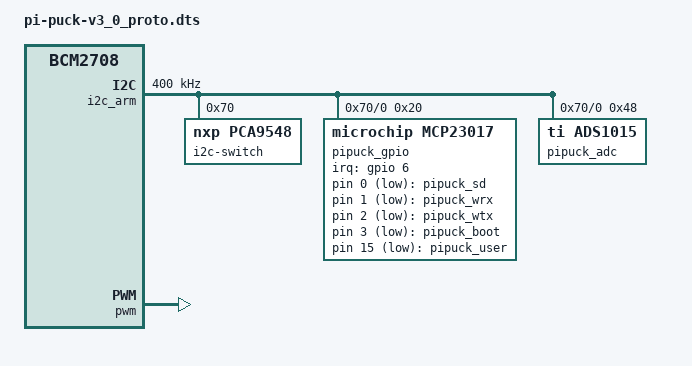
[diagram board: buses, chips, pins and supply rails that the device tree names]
/dts-v1/;
/plugin/;

/ {
	compatible = "brcm,bcm2708";

	/* I2C devices */
	fragment@0 {
		target = <&i2c_arm>;
		__overlay__ {
			#address-cells = <1>;
			#size-cells = <0>;
			status = "okay";
			clock-frequency = <400000>;
			i2c-switch@70 {
				compatible = "nxp,pca9548";
				#address-cells = <1>;
				#size-cells = <0>;
				reg = <0x70>;
				i2c@0 {
					#address-cells = <1>;
					#size-cells = <0>;
					reg = <0>;
					pipuck_gpio: gpio@20 {
						compatible = "microchip,mcp23017";
						gpio-controller;
						#gpio-cells = <2>;
						reg = <0x20>;
						interrupt-parent = <&gpio>;
						interrupts = <6 0x8>, <13 0x8>;
						interrupt-controller;
						#interrupt-cells = <2>;
					};
					pipuck_adc: ads1015@48 {
						compatible = "ti,ads1015";
						reg = <0x48>;
						#address-cells = <1>;
						#size-cells = <0>;
						pipuck_ain0: channel@4 {
							reg = <4>;
							ti,gain = <0>;
							ti,datarate = <0>;
						};
						pipuck_ain1: channel@5 {
							reg = <5>;
							ti,gain = <0>;
							ti,datarate = <0>;
						};
					};
					/* OLED 0x3c */
					/* USB hub 0x50 */
				};
				i2c@1 {
					#address-cells = <1>;
					#size-cells = <0>;
					reg = <1>;
					/* e-puck */
				};
				i2c@2 {
					#address-cells = <1>;
					#size-cells = <0>;
					reg = <2>;
					/* Sensor Board 1 */
				};
				i2c@3 {
					#address-cells = <1>;
					#size-cells = <0>;
					reg = <3>;
					/* Sensor Board 2 */
				};
				i2c@4 {
					#address-cells = <1>;
					#size-cells = <0>;
					reg = <4>;
					/* Sensor Board 3 */
				};
				i2c@5 {
					#address-cells = <1>;
					#size-cells = <0>;
					reg = <5>;
					/* Sensor Board 4 */
				};
				i2c@6 {
					#address-cells = <1>;
					#size-cells = <0>;
					reg = <6>;
					/* Sensor Board 5 */
				};
				i2c@7 {
					#address-cells = <1>;
					#size-cells = <0>;
					reg = <7>;
					/* Sensor Board 6 */
				};
			};
		};
	};

	/* LEDs */
	fragment@1 {
		target = <&leds>;
		__overlay__ {
			compatible = "gpio-leds";
			pipuck_sd {
				label = "pipuck_sd";
				gpios = <&pipuck_gpio 0 1>; // LED5
				linux,default-trigger = "mmc0";
			};
			pipuck_wrx {
				label = "pipuck_wrx";
				gpios = <&pipuck_gpio 1 1>; // LED6
				linux,default-trigger = "phy0rx";
			};
			pipuck_wtx {
				label = "pipuck_wtx";
				gpios = <&pipuck_gpio 2 1>; // LED7
				linux,default-trigger = "phy0tx";
			};
			pipuck_boot {
				label = "pipuck_boot";
				gpios = <&pipuck_gpio 3 1>; // LED8
				linux,default-trigger = "heartbeat";
			};
			pipuck_user {
				label = "pipuck_user";
				gpios = <&pipuck_gpio 15 1>; // LED9
				linux,default-trigger = "none";
			};
		};
	};

	/* DIP switch keys */
	fragment@2 {
		target-path = "/soc";
		__dormant__ {
			control-switches {
				compatible = "gpio-keys";
				pipuck_switch1 {
					label = "pipuck_switch1";
					gpios = <&pipuck_gpio 4 1>; // SW1
					linux,code = <256>;
				};
				pipuck_switch2 {
					label = "pipuck_switch2";
					gpios = <&pipuck_gpio 5 1>; // SW2
					linux,code = <257>;
				};
				pipuck_switch3 {
					label = "pipuck_switch3";
					gpios = <&pipuck_gpio 6 1>; // SW3
					linux,code = <258>;
				};
				pipuck_switch4 {
					label = "pipuck_switch4";
					gpios = <&pipuck_gpio 7 1>; // SW4
					linux,code = <259>;
				};
			};
		};
	};

	/* Shutdown button key */
	fragment@3 {
		target-path = "/soc";
		__dormant__ {
			control-switches {
				compatible = "gpio-keys";
				pipuck_power_key: pipuck_shutdown {
					label = "shutdown";
					linux,code = <116>; // KEY_POWER
					gpios = <&gpio 5 1>;
					debounce-interval = <1000>;
				};

			};
		};
	};

	/* Audio output */
	fragment@4 {
		target = <&gpio>;
		__overlay__ {
			pwm_pins: pwm_pins {
				brcm,pins = <12>;
				brcm,function = <4>; // Alt0
			};
			audio_enable: audio_enable {
				brcm,pins = <22>;
				brcm,function = <1>; // GPIO out
			};
		};
	};
	fragment@5 {
		target = <&pwm>;
		__overlay__ {
			pinctrl-names = "default";
			pinctrl-0 = <&pwm_pins &audio_enable>;
			status = "okay";
		};
	};

	/* Disable Bluetooth to free up UART */
	fragment@6 {
		target = <&uart1>;
		__dormant__ {
			status = "disabled";
		};
	};
	fragment@7 {
		target = <&uart0>;
		__dormant__ {
			pinctrl-names = "default";
			pinctrl-0 = <&uart0_pins>;
			status = "okay";
		};
	};
	fragment@8 {
		target = <&uart0_pins>;
		__dormant__ {
			brcm,pins;
			brcm,function;
			brcm,pull;
		};
	};
	fragment@9 {
		target-path = "/aliases";
		__dormant__ {
			serial0 = "/soc/serial@7e201000";
			serial1 = "/soc/serial@7e215040";
		};
	};

	/* Enable external ADC channels */
	fragment@10 {
		target = <&pipuck_adc>;
		__dormant__ {
			#address-cells = <1>;
			#size-cells = <0>;
			pipuck_ain2: channel@6 {
				reg = <6>;
				ti,gain = <2>;
				ti,datarate = <4>;
			};
		};
	};
	fragment@11 {
		target = <&pipuck_adc>;
		__dormant__ {
			#address-cells = <1>;
			#size-cells = <0>;
			pipuck_ain3: channel@7 {
				reg = <7>;
				ti,gain = <2>;
				ti,datarate = <4>;
			};
		};
	};

	__overrides__ {
		dip_keys = <0>,"+2";
		power_key = <0>,"+3";
		power_key_debounce = <&pipuck_power_key>,"debounce-interval:0";
		uart = <0>,"+6+7+8+9";
		ain2 = <0>,"+10";
		ain2_gain = <&pipuck_ain2>,"ti,gain:0";
		ain2_datarate = <&pipuck_ain2>,"ti,datarate:0";
		ain3 = <0>,"+11";
		ain3_gain = <&pipuck_ain3>,"ti,gain:0";
		ain3_datarate = <&pipuck_ain3>,"ti,datarate:0";
	};
};
